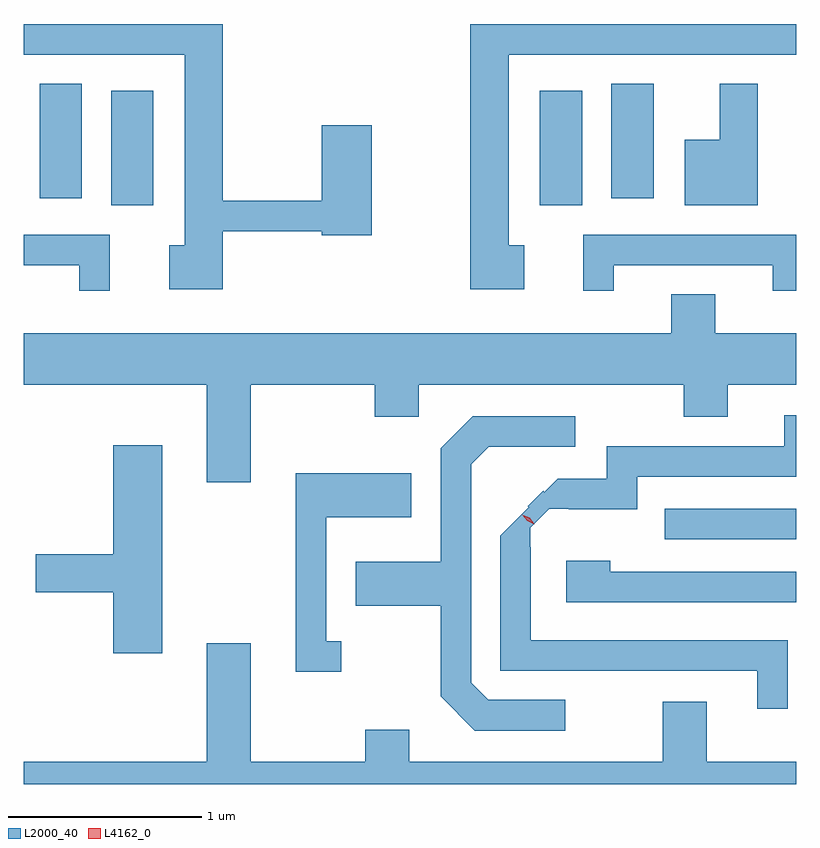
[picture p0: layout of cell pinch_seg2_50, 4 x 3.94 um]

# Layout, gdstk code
import gdstk
lib = gdstk.Library(unit=1e-6, precision=1e-09)
def R(c, l, rs):  # rectangles x0, y0, x1, y1
    for r in rs: c.add(gdstk.rectangle(r[:2], r[2:], *l))
def P(c, l, *ps):  # polygons
    for p in ps: c.add(gdstk.Polygon(p, *l))
L2000_40 = (2000, 40)
L4162_0 = (4162, 0)

pinch_seg2_50 = lib.new_cell('pinch_seg2_50')
R(pinch_seg2_50, L2000_40, [(1101.343,1103.016,1102.023,1103.174), (1098.476,1104.746,1098.694,1105.339), (1100.696,1104.746,1100.914,1105.339), (1098.106,1104.781,1098.324,1105.374), (1101.066,1104.781,1101.284,1105.374)])
P(pinch_seg2_50, L2000_40, [(1099.054,1104.611),(1099.566,1104.611),(1099.566,1104.591),(1099.824,1104.591),(1099.824,1105.159),(1099.566,1105.159),(1099.566,1104.769),(1099.054,1104.769),(1099.054,1105.684),(1098.023,1105.684),(1098.023,1105.526),(1098.856,1105.526),(1098.856,1104.539),(1098.776,1104.539),(1098.776,1104.311),(1099.054,1104.311)],
  [(1100.614,1104.539),(1100.534,1104.539),(1100.534,1105.526),(1102.023,1105.526),(1102.023,1105.684),(1100.336,1105.684),(1100.336,1104.311),(1100.614,1104.311)],
  [(1101.824,1105.374),(1101.626,1105.374),(1101.626,1105.084),(1101.446,1105.084),(1101.446,1104.746),(1101.824,1104.746)],
  [(1098.469,1104.594),(1098.023,1104.594),(1098.023,1104.436),(1098.311,1104.436),(1098.311,1104.303),(1098.469,1104.303)],
  [(1101.079,1104.436),(1101.901,1104.436),(1101.901,1104.303),(1102.023,1104.303),(1102.023,1104.594),(1100.921,1104.594),(1100.921,1104.303),(1101.079,1104.303)],
  [(1099.199,1103.816),(1099.841,1103.816),(1099.841,1103.651),(1100.069,1103.651),(1100.069,1103.816),(1101.441,1103.816),(1101.441,1103.651),(1101.669,1103.651),(1101.669,1103.816),(1102.023,1103.816),(1102.023,1104.084),(1101.604,1104.084),(1101.604,1104.284),(1101.376,1104.284),(1101.376,1104.084),(1098.023,1104.084),(1098.023,1103.816),(1098.971,1103.816),(1098.971,1103.311),(1099.199,1103.311)],
  [(1101.979,1102.494),(1100.649,1102.494),(1100.649,1102.975),(1100.645,1102.975),(1100.645,1103.075),(1100.745,1103.175),(1100.845,1103.175),(1100.845,1103.171),(1101.199,1103.171),(1101.199,1103.341),(1102.023,1103.341),(1102.023,1103.659),(1101.961,1103.659),(1101.961,1103.499),(1101.041,1103.499),(1101.041,1103.329),(1100.788,1103.329),(1100.719,1103.26),(1100.713,1103.267),(1100.633,1103.187),(1100.639,1103.182),(1100.491,1103.034),(1100.491,1102.336),(1101.821,1102.336),(1101.821,1102.138),(1101.979,1102.138)],
  [(1100.828,1102.184),(1100.427,1102.184),(1100.339,1102.272),(1100.339,1103.404),(1100.432,1103.496),(1100.878,1103.496),(1100.878,1103.654),(1100.349,1103.654),(1100.181,1103.487),(1100.181,1102.899),(1099.741,1102.899),(1099.741,1102.671),(1100.181,1102.671),(1100.181,1102.204),(1100.359,1102.026),(1100.828,1102.026)],
  [(1098.739,1103.504),(1098.486,1103.504),(1098.486,1102.939),(1098.086,1102.939),(1098.086,1102.741),(1098.486,1102.741),(1098.486,1102.426),(1098.739,1102.426)],
  [(1099.668,1102.489),(1099.589,1102.489),(1099.589,1103.131),(1100.029,1103.131),(1100.029,1103.359),(1099.431,1103.359),(1099.431,1102.331),(1099.668,1102.331)],
  [(1102.023,1102.849),(1101.059,1102.849),(1101.059,1102.904),(1100.831,1102.904),(1100.831,1102.691),(1102.023,1102.691)],
  [(1102.023,1101.864),(1101.559,1101.864),(1101.559,1102.174),(1101.331,1102.174),(1101.331,1101.864),(1100.019,1101.864),(1100.019,1102.029),(1099.791,1102.029),(1099.791,1101.864),(1099.199,1101.864),(1099.199,1102.479),(1098.971,1102.479),(1098.971,1101.864),(1098.023,1101.864),(1098.023,1101.749),(1102.023,1101.749)])
P(pinch_seg2_50, L4162_0, [(1100.666,1103.094),(1100.629,1103.111),(1100.604,1103.143),(1100.604,1103.144),(1100.605,1103.144),(1100.642,1103.127),(1100.666,1103.095),(1100.666,1103.094)],
  [(1100.66,1103.098),(1100.629,1103.111),(1100.61,1103.138),(1100.61,1103.139),(1100.61,1103.139),(1100.641,1103.126),(1100.661,1103.099),(1100.661,1103.098)])

lib.write_gds('pinch_seg2_50.gds')
